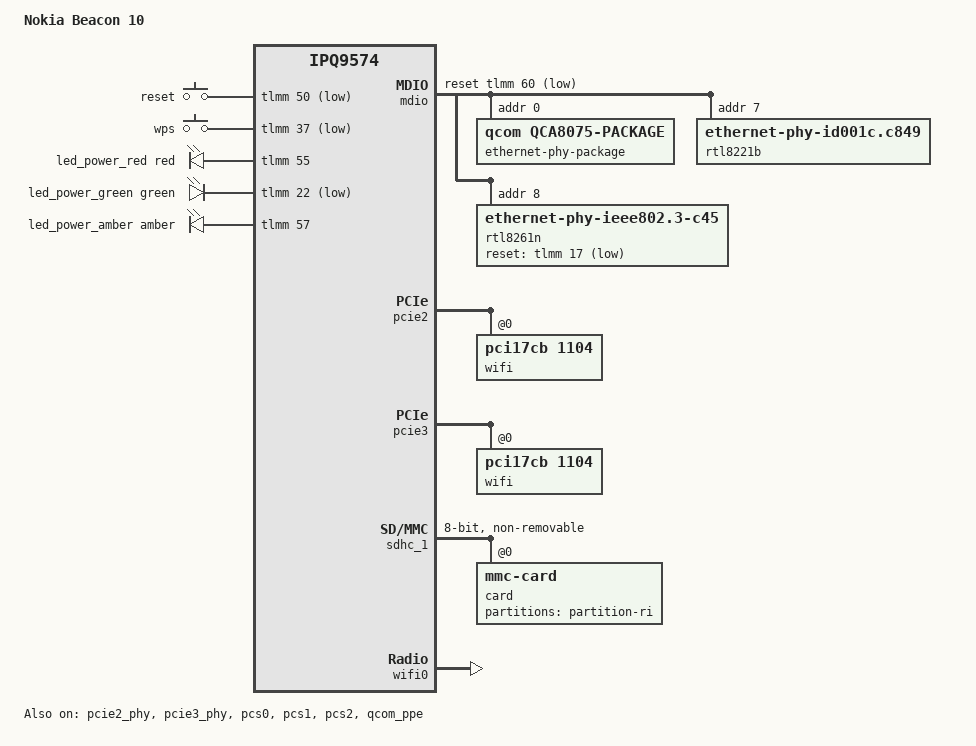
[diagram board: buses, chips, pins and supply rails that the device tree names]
// SPDX-License-Identifier: (GPL-2.0+ OR BSD-3-Clause)

/dts-v1/;

#include "ipq9574-common.dtsi"
#include "ipq9574-common-wifi.dtsi"

/ {
	model = "Nokia Beacon 10";
	compatible = "nokia,beacon10", "qcom,ipq9574";

	aliases {
		led-boot = &led_power_green;
		led-failsafe = &led_power_red;
		led-running = &led_power_green;
		led-upgrade = &led_power_amber;
	};

	keys {
		compatible = "gpio-keys";
		pinctrl-0 = <&keys_pins>;
		pinctrl-names = "default";

		reset {
			label = "reset";
			linux,code = <KEY_RESTART>;
			gpios = <&tlmm 50 GPIO_ACTIVE_LOW>;
			debounce-interval = <30>;
		};

		wps {
			label = "wps";
			linux,code = <KEY_WPS_BUTTON>;
			gpios = <&tlmm 37 GPIO_ACTIVE_LOW>;
			debounce-interval = <30>;
		};
	};

	leds {
		compatible = "gpio-leds";

		led_power_red: power-red {
			color = <LED_COLOR_ID_RED>;
			function = LED_FUNCTION_POWER;
			gpios = <&tlmm 55 GPIO_ACTIVE_HIGH>;
			default-state = "off";
		};

		led_power_green: power-green {
			color = <LED_COLOR_ID_GREEN>;
			function = LED_FUNCTION_POWER;
			gpios = <&tlmm 22 GPIO_ACTIVE_LOW>;
			default-state = "on";
		};

		led_power_amber: power-amber {
			color = <LED_COLOR_ID_AMBER>;
			function = LED_FUNCTION_POWER;
			gpios = <&tlmm 57 GPIO_ACTIVE_HIGH>;
			default-state = "off";
		};
	};
};

&mdio {
	pinctrl-0 = <&mdio_pins>;
	pinctrl-names = "default";
	clock-frequency = <6250000>;
	reset-gpios = <&tlmm 60 GPIO_ACTIVE_LOW>;
	reset-delay-us = <10000>;
	reset-post-delay-us = <20000>;
	status = "okay";

	ethernet-phy-package@0 {
		compatible = "qcom,qca8075-package";
		#address-cells = <1>;
		#size-cells = <0>;
		reg = <0>;
		qcom,package-mode = "qsgmii";

		qca8075_0: ethernet-phy@0 {
			reg = <0>;
		};

		qca8075_1: ethernet-phy@1 {
			reg = <1>;
		};
	};

	rtl8221b: ethernet-phy@7 {
		compatible = "ethernet-phy-id001c.c849",
			     "ethernet-phy-ieee802.3-c22";
		reg = <7>;
	};

	rtl8261n: ethernet-phy@8 {
		compatible = "ethernet-phy-ieee802.3-c45";
		reg = <8>;
		reset-gpios = <&tlmm 17 GPIO_ACTIVE_LOW>;
		reset-assert-us = <200000>;
		reset-deassert-us = <150000>;
		reset-before-id-read;
	};
};

&pcie2 {
	pinctrl-0 = <&pcie2_default>;
	pinctrl-names = "default";
	perst-gpios = <&tlmm 29 GPIO_ACTIVE_LOW>;
	wake-gpios = <&tlmm 30 GPIO_ACTIVE_LOW>;
	status = "okay";

	pcie@0,0 {
		device_type = "pci";
		reg = <0 0 0 0 0>;
		#address-cells = <3>;
		#size-cells = <2>;
		ranges;

		wifi@0,0 {
			compatible = "pci17cb,1104";
			reg = <0 0 0 0 0>;
			qcom,calibration-variant = "Nokia-Beacon-10-5G";
		};
	};
};

&pcie2_phy {
	status = "okay";
};

&pcie3 {
	pinctrl-0 = <&pcie3_default>;
	pinctrl-names = "default";
	perst-gpios = <&tlmm 32 GPIO_ACTIVE_LOW>;
	wake-gpios = <&tlmm 33 GPIO_ACTIVE_LOW>;
	status = "okay";

	pcie@0,0 {
		device_type = "pci";
		reg = <0 0 0 0 0>;
		#address-cells = <3>;
		#size-cells = <2>;
		ranges;

		wifi@0,0 {
			compatible = "pci17cb,1104";
			reg = <0 0 0 0 0>;
			qcom,calibration-variant = "Nokia-Beacon-10-6G";
		};
	};
};

&pcie3_phy {
	status = "okay";
};

&pcs0 {
	status = "okay";
};

&pcs1 {
	status = "okay";
};

&pcs2 {
	status = "okay";
};

&qcom_ppe {
	status = "okay";

	ethernet-ports {
		#address-cells = <1>;
		#size-cells = <0>;

		port@1 {
			reg = <1>;
			label = "lan3";
			nvmem-cells = <&macaddr_ri 4>;
			nvmem-cell-names = "mac-address";
			phy-mode = "qsgmii";
			phy-handle = <&qca8075_0>;
			pcs-handle = <&pcs0_ch0>;
			managed = "in-band-status";
			clocks = <&nsscc NSS_CC_PORT1_MAC_CLK>,
				 <&nsscc NSS_CC_PORT1_RX_CLK>,
				 <&nsscc NSS_CC_PORT1_TX_CLK>;
			clock-names = "mac", "rx", "tx";
			resets = <&nsscc PORT1_MAC_ARES>,
				 <&nsscc PORT1_RX_ARES>,
				 <&nsscc PORT1_TX_ARES>;
			reset-names = "mac", "rx", "tx";
		};

		port@2 {
			reg = <2>;
			label = "lan2";
			nvmem-cells = <&macaddr_ri 3>;
			nvmem-cell-names = "mac-address";
			phy-mode = "qsgmii";
			phy-handle = <&qca8075_1>;
			pcs-handle = <&pcs0_ch1>;
			managed = "in-band-status";
			clocks = <&nsscc NSS_CC_PORT2_MAC_CLK>,
				 <&nsscc NSS_CC_PORT2_RX_CLK>,
				 <&nsscc NSS_CC_PORT2_TX_CLK>;
			clock-names = "mac", "rx", "tx";
			resets = <&nsscc PORT2_MAC_ARES>,
				 <&nsscc PORT2_RX_ARES>,
				 <&nsscc PORT2_TX_ARES>;
			reset-names = "mac", "rx", "tx";
		};

		port@5 {
			reg = <5>;
			label = "lan1";
			nvmem-cells = <&macaddr_ri 2>;
			nvmem-cell-names = "mac-address";
			phy-mode = "2500base-x";
			phy-handle = <&rtl8221b>;
			pcs-handle = <&pcs1_ch0>;
			clocks = <&nsscc NSS_CC_PORT5_MAC_CLK>,
				 <&nsscc NSS_CC_PORT5_RX_CLK>,
				 <&nsscc NSS_CC_PORT5_TX_CLK>;
			clock-names = "mac", "rx", "tx";
			resets = <&nsscc PORT5_MAC_ARES>,
				 <&nsscc PORT5_RX_ARES>,
				 <&nsscc PORT5_TX_ARES>;
			reset-names = "mac", "rx", "tx";
		};

		port@6 {
			reg = <6>;
			label = "wan";
			nvmem-cells = <&macaddr_ri 1>;
			nvmem-cell-names = "mac-address";
			phy-mode = "usxgmii";
			phy-handle = <&rtl8261n>;
			pcs-handle = <&pcs2_ch0>;
			managed = "in-band-status";
			clocks = <&nsscc NSS_CC_PORT6_MAC_CLK>,
				 <&nsscc NSS_CC_PORT6_RX_CLK>,
				 <&nsscc NSS_CC_PORT6_TX_CLK>;
			clock-names = "mac", "rx", "tx";
			resets = <&nsscc PORT6_MAC_ARES>,
				 <&nsscc PORT6_RX_ARES>,
				 <&nsscc PORT6_TX_ARES>;
			reset-names = "mac", "rx", "tx";
		};
	};
};

&rpm_requests {
	regulators {
		s1 {
			regulator-boot-on;
			regulator-always-on;
		};

		s2 {
			regulator-min-microvolt = <700000>;
			regulator-max-microvolt = <1000000>;
			regulator-boot-on;
			regulator-always-on;
		};
	};
};

&sdhc_1 {
	#address-cells = <1>;
	#size-cells = <0>;
	bus-width = <8>;
	max-frequency = <384000000>;
	mmc-ddr-1_8v;
	mmc-hs200-1_8v;
	mmc-hs400-1_8v;
	mmc-hs400-enhanced-strobe;
	non-removable;
	pinctrl-0 = <&sdc_default_state>;
	pinctrl-names = "default";
	status = "okay";

	card@0 {
		compatible = "mmc-card";
		reg = <0>;

		partitions {
			compatible = "gpt-partitions";

			partition-ri {
				partname = "RI";

				nvmem-layout {
					compatible = "fixed-layout";
					#address-cells = <1>;
					#size-cells = <1>;

					macaddr_ri: mac-address@440 {
						compatible = "mac-base";
						reg = <0x440 0x11>;
						#nvmem-cell-cells = <1>;
					};
				};
			};
		};
	};
};

&tlmm {
	keys_pins: keys-state {
		pins = "gpio37", "gpio50";
		function = "gpio";
		drive-strength = <8>;
		bias-pull-up;
	};
};

&wifi0 {
	qcom,calibration-variant = "Nokia-Beacon-10";
};
